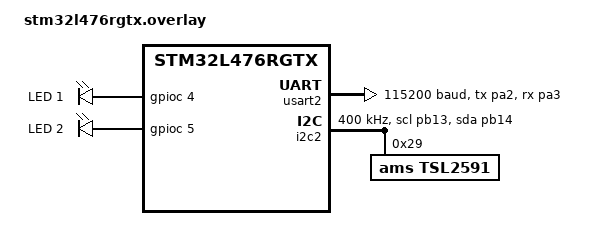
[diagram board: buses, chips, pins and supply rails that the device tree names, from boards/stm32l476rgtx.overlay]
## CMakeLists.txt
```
# SPDX-License-Identifier: Apache-2.0

cmake_minimum_required(VERSION 3.20.0)
find_package(Zephyr REQUIRED HINTS $ENV{ZEPHYR_BASE})

project(ManucaLightCtrlBd)

FILE(GLOB app_sources src/*.c)
target_sources(app PRIVATE ${app_sources})
target_include_directories(app PRIVATE src)
```

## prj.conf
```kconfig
CONFIG_STDOUT_CONSOLE=y
CONFIG_PRINTK=y

CONFIG_LOG=y
CONFIG_LOG_MODE_IMMEDIATE=y
CONFIG_LOG_PRINTK=y

CONFIG_GPIO=y

# State machine framework
#CONFIG_SMF=y

CONFIG_I2C=y
CONFIG_I2C_LOG_LEVEL_INF=y
CONFIG_SENSOR=y
CONFIG_CBPRINTF_FP_SUPPORT=y

# Ambient Light Sensor
CONFIG_TSL2591=y
 
```

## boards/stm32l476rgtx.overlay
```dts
// To get started, press Ctrl+Space (or Option+Esc) to bring up the completion menu and view the available nodes.

// You can also use the buttons in the sidebar to perform actions on nodes.
// Actions currently available include:

// * Enabling / disabling the node
// * Adding the bus to a bus
// * Removing the node
// * Connecting ADC channels

// For more help, browse the DeviceTree documentation at https://docs.zephyrproject.org/latest/guides/dts/index.html
// You can also visit the nRF DeviceTree extension documentation at https://nrfconnect.github.io/vscode-nrf-connect/devicetree/nrfdevicetree.html

#include <zephyr/dt-bindings/led/led.h>

/ {
	aliases {
		led-1 = &led1;
        led-2 = &led2;
	};

    leds {
		compatible = "gpio-leds";
		led1: ld3 {
			gpios = <&gpioc 4 GPIO_ACTIVE_HIGH>;
			label = "LED 1";
		};
        led2: ld4 {
            gpios = <&gpioc 5 GPIO_ACTIVE_HIGH>;
            label = "LED 2";
        };
	};

	chosen {
        zephyr,console = &usart2;
    };
};

&usart2 {
	pinctrl-0 = <&usart2_tx_pa2 &usart2_rx_pa3>;
	pinctrl-names = "default";
	current-speed = <115200>;
	status = "okay";
};

&i2c2 {
	pinctrl-0 = <&i2c2_scl_pb13 &i2c2_sda_pb14>;
	pinctrl-names = "default";
	status = "okay";
	clock-frequency = <I2C_BITRATE_FAST>;

	/* TSL2591 Ambient Light Sensor */
	tsl2591: tsl2591@29 {
		compatible = "ams,tsl2591";
		reg = <0x29>;
		status = "okay";
		//int-gpios = <&gpioa 15 (GPIO_PULL_UP | GPIO_ACTIVE_LOW)>;
	};	
};
```

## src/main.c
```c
#include <zephyr/kernel.h>
#include <inttypes.h>
#include <zephyr/logging/log.h>

#include "config.h"
#include "led_ctrl.h"
#include "als_drv.h"

#define LOG_LEVEL CONFIG_MAIN_LOG_LEVEL
LOG_MODULE_REGISTER(main);

#define SLEEP_TIME_MS	100

dev_data_t dev_info;

int main(void)
{
    led_ctrl_init();
    als_init();

    while (1) {
        als_get_data(&dev_info.als);
        
        led_ctrl_set_mode(HAZARD_BLINK);
        LOG_INF("Hazard blinkers ON");
        k_msleep(9000);
        led_ctrl_set_mode(LED_OFF);
        LOG_INF("Hazard blinkers OFF");
        k_msleep(1000);
    }

    return 0;
}
```

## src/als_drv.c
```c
#include <zephyr/kernel.h>
#include <zephyr/device.h>
#include <zephyr/drivers/sensor.h>
#include <zephyr/drivers/sensor/tsl2591.h>
#include <zephyr/logging/log.h>

#include "als_drv.h"

#define LOG_LEVEL CONFIG_ALS_DRV_LOG_LEVEL
LOG_MODULE_REGISTER(als_drv);

struct sensor_value lux, full_spectrum, infrared;

const struct device *const dev = DEVICE_DT_GET_ONE(ams_tsl2591);

/**
 * @brief Initialisation of Ambient Light Sensor Driver 
 *
 * @note TSL2591 is used for ambient light sensing.
 *
 * @param NIL.
 *
 * @return 0 on success, negative error code on failure
 */
int16_t als_init(void)
{
    int16_t ret = 0;

    if (!device_is_ready(dev)) {
        LOG_ERR("Device %s is not ready", dev->name);
        return -ENODEV;
    }

    LOG_INF("Device %s initialized successfully", dev->name);

    /* Configure the sensor with high gain for low light conditions */
    struct sensor_value gain_val = {
        .val1 = TSL2591_SENSOR_GAIN_MED,
        .val2 = 0
    };
    
    ret = sensor_attr_set(dev, SENSOR_CHAN_LIGHT,
                            SENSOR_ATTR_GAIN_MODE, &gain_val);
    if (ret < 0) {
        LOG_ERR("E%d: Failed to set gain", ret);
        return -ENODEV;
    }
    
    return ret;
}

/**
 * @brief Reads data from the Ambient Light Sensor 
 *
 * @note NIL
 *
 * @param als Pointer to the ambient light data structure to fill with sensor readings.
 *
 * @return 0 on success, negative error code on failure
 */
int16_t als_get_data(als_data_t *als)
{
    int16_t ret = 0;

    /* Fetch sensor data */
    ret = sensor_sample_fetch(dev);
    if (ret < 0) {
        LOG_ERR("Failed to fetch sensor data: %d", ret);
        return ret;
    }

    /* Get calculated lux value */
    ret = sensor_channel_get(dev, SENSOR_CHAN_LIGHT, &lux);
    if (ret < 0) {
        LOG_ERR("Failed to get lux data: %d", ret);
    } else {
        LOG_DBG("Light: %d.%01d lux, ", lux.val1, lux.val2);
        als->lux = (uint16_t)(lux.val1);
    }

    /* Get full spectrum value */
    ret = sensor_channel_get(dev, SENSOR_CHAN_ALL, &full_spectrum);
    if (ret < 0) {
        LOG_ERR("Failed to get full spectrum data: %d", ret);
    } else {
        LOG_DBG("Full spectrum: %d, ", full_spectrum.val1);
        als->full_spectrum = (uint16_t)full_spectrum.val1;
    }

    /* Get infrared value */
    ret = sensor_channel_get(dev, SENSOR_CHAN_IR, &infrared);
    if (ret < 0) {
        LOG_ERR("Failed to get infrared data: %d", ret);
    } else {
        LOG_DBG("Infrared: %d\n", infrared.val1);
        als->infrared = (uint16_t)infrared.val1;
    }

    LOG_INF("Lux: %d, Full Spectrum: %d, Infrared: %d",
          als->lux, als->full_spectrum, als->infrared);

    return ret;
}
```

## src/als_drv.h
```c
#ifndef ALS_DRV_H_
#define ALS_DRV_H_

#include <stdint.h>

typedef struct ambient_light
{
	uint16_t lux;
	uint16_t full_spectrum;
	uint16_t infrared;
} als_data_t;

int16_t als_init(void);
int16_t als_get_data(als_data_t *als);

#endif /* ALS_DRV_H_ */
```

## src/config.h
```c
#ifndef CONFIG_H_
#define CONFIG_H_

#include "als_drv.h"

typedef struct dev_data
{
	als_data_t als;
} dev_data_t;

#endif /* CONFIG_H_ */
```

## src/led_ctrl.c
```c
#include <zephyr/kernel.h>
#include <zephyr/device.h>
#include <zephyr/drivers/gpio.h>
#include <zephyr/sys/util.h>        
#include <zephyr/sys/printk.h>
#include <zephyr/logging/log.h>

#include "led_ctrl.h"

#define LOG_LEVEL CONFIG_LED_CTRL_LOG_LEVEL
LOG_MODULE_REGISTER(led_ctrl);

#define SHORT_BLINK_MS     3800
#define LONG_BLINK_MS      (15 * 1000)   /* 15 seconds */
#define BLINK_PERIOD_MS    333 // 1.5 Hz

struct led_spec {
    const struct gpio_dt_spec *led;
    struct k_timer blink_timer;
    struct k_timer duration_timer;
    bool blinking;
    bool led_on;
};

static struct gpio_dt_spec led_left_spec = GPIO_DT_SPEC_GET_OR(DT_ALIAS(led_1), gpios, {0});
static struct gpio_dt_spec led_right_spec = GPIO_DT_SPEC_GET_OR(DT_ALIAS(led_2), gpios, {0});

// LED states
static struct led_spec left_led = {
    .led = &led_left_spec,
    .blinking = false,
    .led_on = false,
};
static struct led_spec right_led = {
    .led = &led_right_spec,
    .blinking = false,
    .led_on = false,
};

static led_mode_t led_mode;

/**
 * @brief Blink timer callback function
 *
 * This function is called when the blink timer expires.
 *
 * @param timer_id The timer ID
 */
static void blink_timer_fn(struct k_timer *timer_id)
{
    struct led_spec *ld = CONTAINER_OF(timer_id, struct led_spec, blink_timer);
    ld->led_on = !ld->led_on;
    gpio_pin_set_dt(ld->led, ld->led_on);
}

/**
 * @brief Duration timer callback function
 *
 * This function is called when the duration timer expires.
 *
 * @param timer_id The timer ID 
 */
static void duration_timer_fn(struct k_timer *timer_id)
{
    struct led_spec *ld = CONTAINER_OF(timer_id, struct led_spec, duration_timer);
    k_timer_stop(&ld->blink_timer);
    ld->blinking = false;
    gpio_pin_set_dt(ld->led, 0); // Turn off LED
}

/**
 * @brief Control the left LED
 *
 * This function controls the state of the left LED.
 *
 * @param event The blink event
 * @return 0 on success, or a negative error code on failure
 */
static int16_t led_ctrl_left(led_event_t event)
{
    if (event == OFF) {
        k_timer_stop(&left_led.blink_timer);
        k_timer_stop(&left_led.duration_timer);
        left_led.blinking = false;
        left_led.led_on = false;
        gpio_pin_set_dt(left_led.led, 0); // Turn off LED
        LOG_INF("Left LED OFF");
        return 0; // Success
    }
    else if (event == ON) {
        left_led.blinking = true;
        left_led.led_on = true;
        gpio_pin_set_dt(left_led.led, 1); // Turn on LED
        k_timer_start(&left_led.blink_timer, K_MSEC(BLINK_PERIOD_MS), K_MSEC(BLINK_PERIOD_MS));
        k_timer_stop(&left_led.duration_timer);
        LOG_INF("Left LED started");
        return 0; // Success
    }   
    else if (event == SHORT) {
        left_led.blinking = true;
        left_led.led_on = true;
        gpio_pin_set_dt(left_led.led, 1); // Turn on LED
        k_timer_start(&left_led.blink_timer, K_MSEC(BLINK_PERIOD_MS), K_MSEC(BLINK_PERIOD_MS));
        k_timer_start(&left_led.duration_timer, K_MSEC(SHORT_BLINK_MS), K_NO_WAIT);
        LOG_INF("Left LED - short duration");
        return 0; // Success
    }
    else if (event == LONG) {
        left_led.blinking = true;
        left_led.led_on = true;
        gpio_pin_set_dt(left_led.led, 1); // Turn on LED
        k_timer_start(&left_led.blink_timer, K_MSEC(BLINK_PERIOD_MS), K_MSEC(BLINK_PERIOD_MS));
        k_timer_start(&left_led.duration_timer, K_MSEC(LONG_BLINK_MS), K_NO_WAIT);
        LOG_INF("Left LED - long duration");
        return 0; // Success
    }
    return -1; // Failure
}

/**
 * @brief Control the right LED.
 *
 * @param event The blink event
 * @return 0 on success, or a negative error code on failure
 */
static int16_t led_ctrl_right(led_event_t event)
{
    if (event == OFF) {
        k_timer_stop(&right_led.blink_timer);
        k_timer_stop(&right_led.duration_timer);
        right_led.blinking = false;
        right_led.led_on = false;
        gpio_pin_set_dt(right_led.led, 0); // Turn off LED
        LOG_INF("Right LED OFF");
        return 0; // Success
    }
    else if (event == ON) {
        right_led.blinking = true;
        right_led.led_on = true;
        gpio_pin_set_dt(right_led.led, 1); // Turn on LED
        k_timer_start(&right_led.blink_timer, K_MSEC(BLINK_PERIOD_MS), K_MSEC(BLINK_PERIOD_MS));
        k_timer_stop(&right_led.duration_timer);
        LOG_INF("Right LED started");
        return 0; // Success
    }    
    else if (event == SHORT) {
        right_led.blinking = true;
        right_led.led_on = true;
        gpio_pin_set_dt(right_led.led, 1); // Turn on LED
        k_timer_start(&right_led.blink_timer, K_MSEC(BLINK_PERIOD_MS), K_MSEC(BLINK_PERIOD_MS));
        k_timer_start(&right_led.duration_timer, K_MSEC(SHORT_BLINK_MS), K_NO_WAIT);
        LOG_INF("Right LED - short duration");
        return 0; // Success
    }
    else if (event == LONG) {
        right_led.blinking = true;
        right_led.led_on = true;
        gpio_pin_set_dt(right_led.led, 1); // Turn on LED
        k_timer_start(&right_led.blink_timer, K_MSEC(BLINK_PERIOD_MS), K_MSEC(BLINK_PERIOD_MS));
        k_timer_start(&right_led.duration_timer, K_MSEC(LONG_BLINK_MS), K_NO_WAIT);
        LOG_INF("Right LED - long duration");
        return 0; // Success
    }
    return -1; // Failure
}

/**
 * @brief Control the hazard LED.
 *
 * @param event The blink event
 * @return 0 on success, or a negative error code on failure
 */
static int16_t led_ctrl_hazard(led_event_t event)
{
    int8_t err = 0;
    if (event == OFF) {
        err = led_ctrl_left(OFF);
        err |= led_ctrl_right(OFF);
        LOG_INF("HAZARD LED OFF");
    }
    else {
        err = led_ctrl_left(ON);
        err |= led_ctrl_right(ON);
        LOG_INF("HAZARD blinker ON");
    }
    return err ? err : 0;
}

/**
 * @brief Initialize the blinker control module.
 *
 * @return 0 on success, or a negative error code on failure
 */
int16_t led_ctrl_init(void)
{
    int16_t ret;

    if (!gpio_is_ready_dt(left_led.led)) {
        LOG_ERR("LED device %s is not ready", left_led.led->port->name);
        return -1;
    }

    if (!gpio_is_ready_dt(right_led.led)) {
        LOG_ERR("LED device %s is not ready", right_led.led->port->name);
        return -1;
    }

	if (left_led.led->port) {
		ret = gpio_pin_configure_dt(left_led.led, GPIO_OUTPUT);
		if (ret != 0) {
			LOG_ERR("E%d: failed to configure LED device %s pin %d", ret, left_led.led->port->name, left_led.led->pin);
            return -1;
		} 
        else {
			LOG_INF("Set up LED at %s pin %d", left_led.led->port->name, left_led.led->pin);
		}
	}

	if (right_led.led->port) {
		ret = gpio_pin_configure_dt(right_led.led, GPIO_OUTPUT);
		if (ret != 0) {
			LOG_ERR("E%d: failed to configure LED device %s pin %d", ret, right_led.led->port->name, right_led.led->pin);
            return -1;
		} 
        else {
			LOG_INF("Set up LED at %s pin %d", right_led.led->port->name, right_led.led->pin);
		}
	}	

    k_timer_init(&left_led.blink_timer, blink_timer_fn, NULL);
    k_timer_init(&left_led.duration_timer, duration_timer_fn, NULL);

    k_timer_init(&right_led.blink_timer, blink_timer_fn, NULL);
    k_timer_init(&right_led.duration_timer, duration_timer_fn, NULL);

    led_ctrl_left(OFF);
    led_ctrl_right(OFF);

    led_mode = LED_OFF;

    return 0;
} 

/**
 * @brief Set the blink mode for the left and right blinkers.
 *
 * @param mode The blink mode to set
 * @return 0 on success, or a negative error code on failure
 */
int16_t led_ctrl_set_mode(led_mode_t mode)
{
    static bool blinking_active = false;
    static led_mode_t prev_mode = LED_OFF;

    led_mode = mode;

    switch (led_mode) {
        case LED_OFF:
            led_ctrl_left(OFF);
            led_ctrl_right(OFF);
            LOG_INF("BOTH blinkers OFF");
            break;
        case LEFT_BLINK_SHORT:
            led_ctrl_left(SHORT);
            led_ctrl_right(OFF);
            LOG_INF("LEFT blinker ON");
            break;
        case LEFT_BLINK_LONG:
            led_ctrl_left(LONG);
            led_ctrl_right(OFF);
            LOG_INF("LEFT blinker ON (LONG)");
            break;
        case RIGHT_BLINK_SHORT:
            led_ctrl_right(SHORT);
            led_ctrl_left(OFF);
            LOG_INF("RIGHT blinker ON");
            break;
        case RIGHT_BLINK_LONG:
            led_ctrl_right(LONG);
            led_ctrl_left(OFF);
            LOG_INF("RIGHT blinker ON (LONG)");
            break;
        case HAZARD_BLINK:
            // Toggle hazard blinkers
            if (prev_mode != HAZARD_BLINK) {
                blinking_active = true; // Reset blinking state
            }
            else
            {
                blinking_active = !blinking_active; // Toggle state
            }
            
            if (blinking_active) {
                led_ctrl_hazard(ON);
                LOG_INF("Hazard blinkers ON");
            }
            else {
                led_ctrl_hazard(OFF);
                LOG_INF("Hazard blinkers OFF");
            }
            break;
        default:
            return -EINVAL; // Invalid mode
    }

    prev_mode = mode;
    return 0; // Success
}

/**
 * @brief Get the current blink mode for the left and right blinkers.
 *
 * @param mode Pointer to the variable to store the current blink mode
 * @return 0 on success, or a negative error code on failure    
 */
int16_t led_ctrl_get_mode(led_mode_t *mode)
{
    if (mode == NULL) {
        return -EINVAL; // Invalid argument
    }

    *mode = led_mode;
    return 0; // Success
}
```

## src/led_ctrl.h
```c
#ifndef LED_CTRL_H_
#define LED_CTRL_H_

#include <stdint.h>

typedef enum {
	LED_OFF = 0U,
	LEFT_BLINK_SHORT,
    LEFT_BLINK_LONG,
	RIGHT_BLINK_SHORT,
    RIGHT_BLINK_LONG,
	HAZARD_BLINK
} led_mode_t;

typedef enum {
    ON = 0U,
    SHORT,
    LONG,
    OFF,
} led_event_t;

int16_t led_ctrl_init(void);
int16_t led_ctrl_set_mode(led_mode_t mode);
int16_t led_ctrl_get_mode(led_mode_t *mode);

#endif // LED_CTRL_H_
```
